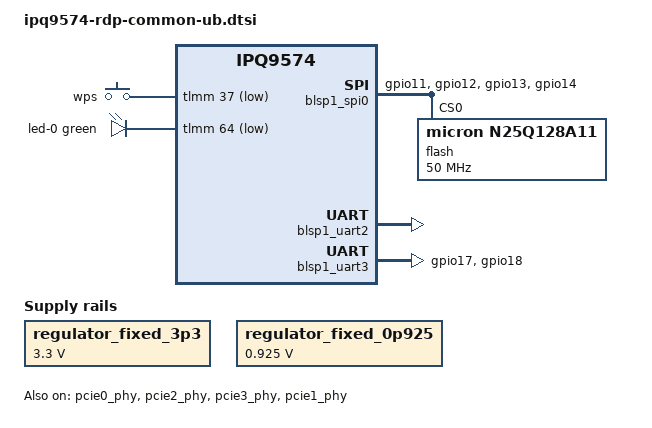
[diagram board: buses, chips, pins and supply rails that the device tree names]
// SPDX-License-Identifier: GPL-2.0-only
/*
 * Copyright (c) Qualcomm Technologies, Inc. and/or its subsidiaries.
 */


#include <dt-bindings/gpio/gpio.h>
#include <dt-bindings/input/input.h>
#include <dt-bindings/leds/common.h>
#include <dt-bindings/net/qcom_ipqsoc.h>
#include <asm/arch/dt-bindings/clock/qcom,ipq9574-gcc.h>
#include <asm/arch/dt-bindings/reset/qcom,ipq9574-gcc.h>
#include "ipq9574.dtsi"

/ {
	aliases {
		serial0 = &blsp1_uart2;
		uart2 = &blsp1_uart3;
	};

	chosen {
		stdout-path = "serial0:115200n8";
#ifdef CONFIG_BOOT_BANK_FIXUP
		u-boot,booted-bank = "unknown,bootbank";
#endif
	};

	soc@0 {
		/delete-node/ phy@7b000;
		/delete-node/ phy@7d000;
		/delete-node/ usb@8af8800;

		qmp_ssphy_0: ssphy@7D000 {
			compatible = "qcom,ipq9574-qmp-usb3-phy";
			reg = <0x7D000 0x1C4>, <0x7D200 0x130>,
			    <0x7D400 0x200>, <0x7D800 0x1F8>;
			reg-names = "com_base", "tx_base",
				"rx_base", "pcs_base";
			clocks = <&gcc GCC_USB0_PIPE_CLK>;
			#phy-cells = <0>;
			resets =  <&gcc GCC_USB0_PHY_BCR>,
			       <&gcc GCC_USB3PHY_0_PHY_BCR>;
			status = "disabled";
		};

		qusb2_phy_0: qusb2@7B000 {
			compatible = "qcom,ipq9574-qusb2-phy";
			reg = <0x07B000 0x180>;
			#phy-cells = <0>;
			clocks = <&gcc GCC_USB0_PHY_CFG_AHB_CLK>;
			clock-names = "cfg_ahb";
			resets = <&gcc GCC_QUSB2_0_PHY_BCR>;
			status = "disabled";
		};

		usb0: usb@8af8800 {
			compatible = "qcom,dwc3";
			reg = <0x8af8800 0x100>;
			#address-cells = <1>;
			#size-cells = <1>;
			assigned-clocks = <&gcc GCC_USB0_MASTER_CLK>,
				<&gcc GCC_USB0_MOCK_UTMI_CLK>,
				<&gcc GCC_USB0_AUX_CLK>;
			assigned-clock-rates = <200000000>,
				<24000000>,
				<24000000>;
			clocks = <&gcc GCC_USB0_MASTER_CLK>,
				<&gcc GCC_ANOC_USB_AXI_CLK>,
				<&gcc GCC_SNOC_USB_CLK>,
				<&gcc GCC_USB0_MOCK_UTMI_CLK>,
				<&gcc GCC_USB0_SLEEP_CLK>,
				<&gcc GCC_USB0_AUX_CLK>,
				<&gcc GCC_USB0_PHY_CFG_AHB_CLK>;
			resets = <&gcc GCC_USB_BCR>;
			ranges;
			qcom,quirk-ref-clk-per = <0x0a40c010>;
			qcom,quirk-ref-clk-adj = <0x0a87f0a0>;
			status = "disabled";

			dwc3@8a00000 {
				compatible = "snps,dwc3";
				reg = <0x8a00000 0xf8000>;
				dr_mode = "host";
				snps,dis_u2_susphy_quirk;
				snps,dis_u3_susphy_quirk;
			};
		};

		pcie0_phy: phy@84000 {
			compatible = "qcom,ipq9574-qmp-gen3x1-pcie-phy";
			reg = <0x00084000 0x1000>;

			clocks = <&gcc GCC_PCIE0_AUX_CLK>,
				 <&gcc GCC_PCIE0_AHB_CLK>,
				 <&gcc GCC_PCIE0_RCHNG_CLK>,
				 <&gcc GCC_PCIE0_PIPE_CLK>,
				 <&gcc GCC_ANOC_PCIE0_1LANE_M_CLK>,
                                 <&gcc GCC_SNOC_PCIE0_1LANE_S_CLK>;
			clock-names = "aux", "cfg_ahb", "rchng", "pipe",
					"lane_m", "lane_s";

			resets = <&gcc GCC_PCIE0_PHY_BCR>,
				 <&gcc GCC_PCIE0PHY_PHY_BCR>;
			reset-names = "phy", "common";

			#clock-cells = <0>;
			clock-output-names = "gcc_pcie0_pipe_clk_src";

			#phy-cells = <0>;
			status = "okay";
		};

		pcie2_phy: phy@8c000 {
			compatible = "qcom,ipq9574-qmp-gen3x2-pcie-phy";
			reg = <0x0008c000 0x2000>;

			clocks = <&gcc GCC_PCIE2_AUX_CLK>,
				 <&gcc GCC_PCIE2_AHB_CLK>,
				 <&gcc GCC_PCIE2_RCHNG_CLK>,
				 <&gcc GCC_PCIE2_PIPE_CLK>,
				 <&gcc GCC_ANOC_PCIE2_2LANE_M_CLK>,
                                 <&gcc GCC_SNOC_PCIE2_2LANE_S_CLK>;
			clock-names = "aux", "cfg_ahb", "rchng", "pipe",
					"lane_m", "lane_s";

			resets = <&gcc GCC_PCIE2_PHY_BCR>,
				 <&gcc GCC_PCIE2PHY_PHY_BCR>;
			reset-names = "phy", "common";

			#clock-cells = <0>;
			clock-output-names = "gcc_pcie2_pipe_clk_src";

			#phy-cells = <0>;
			status = "okay";
		};

		pcie3_phy: phy@f4000 {
			compatible = "qcom,ipq9574-qmp-gen3x2-pcie-phy";
			reg = <0x000f4000 0x2000>;

			clocks = <&gcc GCC_PCIE3_AUX_CLK>,
				 <&gcc GCC_PCIE3_AHB_CLK>,
				 <&gcc GCC_PCIE3_RCHNG_CLK>,
				 <&gcc GCC_PCIE3_PIPE_CLK>,
				 <&gcc GCC_ANOC_PCIE3_2LANE_M_CLK>,
                                 <&gcc GCC_SNOC_PCIE3_2LANE_S_CLK>;
			clock-names = "aux", "cfg_ahb", "rchng", "pipe",
					"lane_m", "lane_s";

			resets = <&gcc GCC_PCIE3_PHY_BCR>,
				 <&gcc GCC_PCIE3PHY_PHY_BCR>;
			reset-names = "phy", "common";

			#clock-cells = <0>;
			clock-output-names = "gcc_pcie3_pipe_clk_src";

			#phy-cells = <0>;
			status = "okay";
		};

		pcie1_phy: phy@fc000 {
			compatible = "qcom,ipq9574-qmp-gen3x1-pcie-phy";
			reg = <0x000fc000 0x1000>;

			clocks = <&gcc GCC_PCIE1_AUX_CLK>,
				 <&gcc GCC_PCIE1_AHB_CLK>,
				 <&gcc GCC_PCIE1_RCHNG_CLK>,
				 <&gcc GCC_PCIE1_PIPE_CLK>,
				 <&gcc GCC_ANOC_PCIE1_1LANE_M_CLK>,
				<&gcc GCC_SNOC_PCIE1_1LANE_S_CLK>;
			clock-names = "aux", "cfg_ahb", "rchng", "pipe",
					"lane_m", "lane_s";

			resets = <&gcc GCC_PCIE1_PHY_BCR>,
				 <&gcc GCC_PCIE1PHY_PHY_BCR>;
			reset-names = "phy", "common";

			#clock-cells = <0>;
			clock-output-names = "gcc_pcie1_pipe_clk_src";

			#phy-cells = <0>;
			status = "okay";
		};

		pcie1: pci@10000000 {
			compatible = "qcom,pcie-ipq9574";
			reg =  <0x10000000 0xf1d>,
			       <0x10000f20 0xa8>,
			       <0x10001000 0x1000>,
			       <0x000f8000 0x4000>,
			       <0x10100000 0x1000>;
			reg-names = "dbi", "elbi", "atu", "parf", "config";
			device_type = "pci";
			linux,pci-domain = <1>;
			bus-range = <0x00 0xff>;
			num-lanes = <1>;
			id = <1>;
			perst-gpios = <&tlmm 26 GPIO_ACTIVE_LOW>;
			#address-cells = <3>;
			#size-cells = <2>;

			ranges = <0x01000000 0x0 0x00000000 0x10200000 0x0 0x100000>,
				 <0x02000000 0x0 0x10300000 0x10300000 0x0 0x7d00000>;

			interrupts = <GIC_SPI 26 IRQ_TYPE_LEVEL_HIGH>,
				     <GIC_SPI 27 IRQ_TYPE_LEVEL_HIGH>,
				     <GIC_SPI 28 IRQ_TYPE_LEVEL_HIGH>,
				     <GIC_SPI 29 IRQ_TYPE_LEVEL_HIGH>,
				     <GIC_SPI 30 IRQ_TYPE_LEVEL_HIGH>,
				     <GIC_SPI 31 IRQ_TYPE_LEVEL_HIGH>,
				     <GIC_SPI 32 IRQ_TYPE_LEVEL_HIGH>,
				     <GIC_SPI 33 IRQ_TYPE_LEVEL_HIGH>;
			interrupt-names = "msi0",
					  "msi1",
					  "msi2",
					  "msi3",
					  "msi4",
					  "msi5",
					  "msi6",
					  "msi7";

			#interrupt-cells = <1>;
			interrupt-map-mask = <0 0 0 0x7>;
			interrupt-map = <0 0 0 1 &intc 0 0 35 IRQ_TYPE_LEVEL_HIGH>,
					<0 0 0 2 &intc 0 0 49 IRQ_TYPE_LEVEL_HIGH>,
					<0 0 0 3 &intc 0 0 84 IRQ_TYPE_LEVEL_HIGH>,
					<0 0 0 4 &intc 0 0 85 IRQ_TYPE_LEVEL_HIGH>;

			assigned-clocks = <&gcc GCC_PCIE1_AUX_CLK>,
					  <&gcc GCC_PCIE1_AXI_M_CLK>,
					  <&gcc GCC_PCIE1_AXI_S_CLK>,
					  <&gcc GCC_PCIE1_RCHNG_CLK>;
			assigned-clock-rates = <20000000>,
					       <240000000>,
					       <240000000>,
					       <100000000>;

			clocks = <&gcc GCC_PCIE1_AXI_M_CLK>,
				 <&gcc GCC_PCIE1_AXI_S_CLK>,
				 <&gcc GCC_PCIE1_AXI_S_BRIDGE_CLK>,
				 <&gcc GCC_PCIE1_AHB_CLK>,
				 <&gcc GCC_PCIE1_AUX_CLK>;
			clock-names = "axi_m",
				      "axi_s",
				      "axi_bridge",
				      "ahb",
				      "aux";

			resets = <&gcc GCC_PCIE1_PIPE_ARES>,
				 <&gcc GCC_PCIE1_CORE_STICKY_ARES>,
				 <&gcc GCC_PCIE1_AXI_S_STICKY_ARES>,
				 <&gcc GCC_PCIE1_AXI_S_ARES>,
				 <&gcc GCC_PCIE1_AXI_M_STICKY_ARES>,
				 <&gcc GCC_PCIE1_AXI_M_ARES>,
				 <&gcc GCC_PCIE1_AUX_ARES>,
				 <&gcc GCC_PCIE1_AHB_ARES>;
			reset-names = "pipe",
				      "sticky",
				      "axi_s_sticky",
				      "axi_s",
				      "axi_m_sticky",
				      "axi_m",
				      "aux",
				      "ahb";

			phys = <&pcie1_phy>;
			phy-names = "pciephy";
			interconnects = <&gcc MASTER_ANOC_PCIE1 &gcc SLAVE_ANOC_PCIE1>,
					<&gcc MASTER_SNOC_PCIE1 &gcc SLAVE_SNOC_PCIE1>;
			interconnect-names = "pcie-mem", "cpu-pcie";
			status = "disabled";
		};

		pcie3: pci@18000000 {
			compatible = "qcom,pcie-ipq9574";
			reg =  <0x18000000 0xf1d>,
			       <0x18000f20 0xa8>,
			       <0x18001000 0x1000>,
			       <0x000f0000 0x4000>,
			       <0x18100000 0x1000>;
			reg-names = "dbi", "elbi", "atu", "parf", "config";
			device_type = "pci";
			linux,pci-domain = <3>;
			bus-range = <0x00 0xff>;
			num-lanes = <2>;
			id = <3>;
			perst-gpios = <&tlmm 32 GPIO_ACTIVE_LOW>;
			#address-cells = <3>;
			#size-cells = <2>;

			ranges = <0x01000000 0x0 0x00000000 0x18200000 0x0 0x100000>,
				 <0x02000000 0x0 0x18300000 0x18300000 0x0 0x7d00000>;

			interrupts = <GIC_SPI 126 IRQ_TYPE_LEVEL_HIGH>,
				     <GIC_SPI 128 IRQ_TYPE_LEVEL_HIGH>,
				     <GIC_SPI 129 IRQ_TYPE_LEVEL_HIGH>,
				     <GIC_SPI 130 IRQ_TYPE_LEVEL_HIGH>,
				     <GIC_SPI 137 IRQ_TYPE_LEVEL_HIGH>,
				     <GIC_SPI 141 IRQ_TYPE_LEVEL_HIGH>,
				     <GIC_SPI 142 IRQ_TYPE_LEVEL_HIGH>,
				     <GIC_SPI 143 IRQ_TYPE_LEVEL_HIGH>;
			interrupt-names = "msi0",
					  "msi1",
					  "msi2",
					  "msi3",
					  "msi4",
					  "msi5",
					  "msi6",
					  "msi7";

			#interrupt-cells = <1>;
			interrupt-map-mask = <0 0 0 0x7>;
			interrupt-map = <0 0 0 1 &intc 0 0 189 IRQ_TYPE_LEVEL_HIGH>,
					<0 0 0 2 &intc 0 0 190 IRQ_TYPE_LEVEL_HIGH>,
					<0 0 0 3 &intc 0 0 191 IRQ_TYPE_LEVEL_HIGH>,
					<0 0 0 4 &intc 0 0 192 IRQ_TYPE_LEVEL_HIGH>;

			assigned-clocks = <&gcc GCC_PCIE3_AUX_CLK>,
					  <&gcc GCC_PCIE3_AXI_M_CLK>,
					  <&gcc GCC_PCIE3_AXI_S_CLK>,
					  <&gcc GCC_PCIE3_RCHNG_CLK>;
			assigned-clock-rates = <20000000>,
					       <342857143>,
					       <240000000>,
					       <100000000>;

			clocks = <&gcc GCC_PCIE3_AXI_M_CLK>,
				 <&gcc GCC_PCIE3_AXI_S_CLK>,
				 <&gcc GCC_PCIE3_AXI_S_BRIDGE_CLK>,
				 <&gcc GCC_PCIE3_AHB_CLK>,
				 <&gcc GCC_PCIE3_AUX_CLK>;
			clock-names = "axi_m",
				      "axi_s",
				      "axi_bridge",
				      "ahb",
				      "aux";

			resets = <&gcc GCC_PCIE3_PIPE_ARES>,
				 <&gcc GCC_PCIE3_CORE_STICKY_ARES>,
				 <&gcc GCC_PCIE3_AXI_S_STICKY_ARES>,
				 <&gcc GCC_PCIE3_AXI_S_ARES>,
				 <&gcc GCC_PCIE3_AXI_M_STICKY_ARES>,
				 <&gcc GCC_PCIE3_AXI_M_ARES>,
				 <&gcc GCC_PCIE3_AUX_ARES>,
				 <&gcc GCC_PCIE3_AHB_ARES>;
			reset-names = "pipe",
				      "sticky",
				      "axi_s_sticky",
				      "axi_s",
				      "axi_m_sticky",
				      "axi_m",
				      "aux",
				      "ahb";

			phys = <&pcie3_phy>;
			phy-names = "pciephy";
			interconnects = <&gcc MASTER_ANOC_PCIE3 &gcc SLAVE_ANOC_PCIE3>,
					<&gcc MASTER_SNOC_PCIE3 &gcc SLAVE_SNOC_PCIE3>;
			interconnect-names = "pcie-mem", "cpu-pcie";
			status = "disabled";
		};

		pcie2: pci@20000000 {
			compatible = "qcom,pcie-ipq9574";
			reg =  <0x20000000 0xf1d>,
			       <0x20000f20 0xa8>,
			       <0x20001000 0x1000>,
			       <0x00088000 0x4000>,
			       <0x20100000 0x1000>;
			reg-names = "dbi", "elbi", "atu", "parf", "config";
			device_type = "pci";
			linux,pci-domain = <2>;
			bus-range = <0x00 0xff>;
			num-lanes = <2>;
			id = <2>;
			perst-gpios = <&tlmm 29 GPIO_ACTIVE_LOW>;
			#address-cells = <3>;
			#size-cells = <2>;

			ranges = <0x01000000 0x0 0x00000000 0x20200000 0x0 0x100000>,
				 <0x02000000 0x0 0x20300000 0x20300000 0x0 0x7d00000>;

			interrupts = <GIC_SPI 126 IRQ_TYPE_LEVEL_HIGH>,
				     <GIC_SPI 128 IRQ_TYPE_LEVEL_HIGH>,
				     <GIC_SPI 129 IRQ_TYPE_LEVEL_HIGH>,
				     <GIC_SPI 130 IRQ_TYPE_LEVEL_HIGH>,
				     <GIC_SPI 137 IRQ_TYPE_LEVEL_HIGH>,
				     <GIC_SPI 141 IRQ_TYPE_LEVEL_HIGH>,
				     <GIC_SPI 142 IRQ_TYPE_LEVEL_HIGH>,
				     <GIC_SPI 143 IRQ_TYPE_LEVEL_HIGH>;
			interrupt-names = "msi0",
					  "msi1",
					  "msi2",
					  "msi3",
					  "msi4",
					  "msi5",
					  "msi6",
					  "msi7";

			#interrupt-cells = <1>;
			interrupt-map-mask = <0 0 0 0x7>;
			interrupt-map = <0 0 0 1 &intc 0 0 164 IRQ_TYPE_LEVEL_HIGH>,
					<0 0 0 2 &intc 0 0 165 IRQ_TYPE_LEVEL_HIGH>,
					<0 0 0 3 &intc 0 0 186 IRQ_TYPE_LEVEL_HIGH>,
					<0 0 0 4 &intc 0 0 187 IRQ_TYPE_LEVEL_HIGH>;

			assigned-clocks = <&gcc GCC_PCIE2_AUX_CLK>,
					  <&gcc GCC_PCIE2_AXI_M_CLK>,
					  <&gcc GCC_PCIE2_AXI_S_CLK>,
					  <&gcc GCC_PCIE2_RCHNG_CLK>;

			assigned-clock-rates = <20000000>,
					       <342857143>,
					       <240000000>,
					       <100000000>;

			clocks = <&gcc GCC_PCIE2_AXI_M_CLK>,
				 <&gcc GCC_PCIE2_AXI_S_CLK>,
				 <&gcc GCC_PCIE2_AXI_S_BRIDGE_CLK>,
				 <&gcc GCC_PCIE2_AHB_CLK>,
				 <&gcc GCC_PCIE2_AUX_CLK>;
			clock-names = "axi_m",
				      "axi_s",
				      "axi_bridge",
				      "ahb",
				      "aux";

			resets = <&gcc GCC_PCIE2_PIPE_ARES>,
				 <&gcc GCC_PCIE2_CORE_STICKY_ARES>,
				 <&gcc GCC_PCIE2_AXI_S_STICKY_ARES>,
				 <&gcc GCC_PCIE2_AXI_S_ARES>,
				 <&gcc GCC_PCIE2_AXI_M_STICKY_ARES>,
				 <&gcc GCC_PCIE2_AXI_M_ARES>,
				 <&gcc GCC_PCIE2_AUX_ARES>,
				 <&gcc GCC_PCIE2_AHB_ARES>;
			reset-names = "pipe",
				      "sticky",
				      "axi_s_sticky",
				      "axi_s",
				      "axi_m_sticky",
				      "axi_m",
				      "aux",
				      "ahb";

			phys = <&pcie2_phy>;
			phy-names = "pciephy";
			interconnects = <&gcc MASTER_ANOC_PCIE2 &gcc SLAVE_ANOC_PCIE2>,
					<&gcc MASTER_SNOC_PCIE2 &gcc SLAVE_SNOC_PCIE2>;
			interconnect-names = "pcie-mem", "cpu-pcie";
			status = "disabled";
		};

		pcie0: pci@28000000 {
			compatible = "qcom,pcie-ipq9574";
			reg =  <0x28000000 0xf1d>,
			       <0x28000f20 0xa8>,
			       <0x28001000 0x1000>,
			       <0x00080000 0x4000>,
			       <0x28100000 0x1000>;
			reg-names = "dbi", "elbi", "atu", "parf", "config";
			device_type = "pci";
			linux,pci-domain = <0>;
			bus-range = <0x00 0xff>;
			num-lanes = <1>;
			id = <0>;
			perst-gpios = <&tlmm 23 GPIO_ACTIVE_LOW>;
			#address-cells = <3>;
			#size-cells = <2>;

			ranges = <0x01000000 0x0 0x00000000 0x28200000 0x0 0x100000>,
				 <0x02000000 0x0 0x28300000 0x28300000 0x0 0x7d00000>;
			interrupts = <GIC_SPI 52 IRQ_TYPE_LEVEL_HIGH>,
				     <GIC_SPI 55 IRQ_TYPE_LEVEL_HIGH>,
				     <GIC_SPI 56 IRQ_TYPE_LEVEL_HIGH>,
				     <GIC_SPI 57 IRQ_TYPE_LEVEL_HIGH>,
				     <GIC_SPI 59 IRQ_TYPE_LEVEL_HIGH>,
				     <GIC_SPI 63 IRQ_TYPE_LEVEL_HIGH>,
				     <GIC_SPI 68 IRQ_TYPE_LEVEL_HIGH>,
				     <GIC_SPI 72 IRQ_TYPE_LEVEL_HIGH>;
			interrupt-names = "msi0",
					  "msi1",
					  "msi2",
					  "msi3",
					  "msi4",
					  "msi5",
					  "msi6",
					  "msi7";

			#interrupt-cells = <1>;
			interrupt-map-mask = <0 0 0 0x7>;
			interrupt-map = <0 0 0 1 &intc 0 0 75 IRQ_TYPE_LEVEL_HIGH>,
					<0 0 0 2 &intc 0 0 78 IRQ_TYPE_LEVEL_HIGH>,
					<0 0 0 3 &intc 0 0 79 IRQ_TYPE_LEVEL_HIGH>,
					<0 0 0 4 &intc 0 0 83 IRQ_TYPE_LEVEL_HIGH>;

			assigned-clocks = <&gcc GCC_PCIE0_AUX_CLK>,
					  <&gcc GCC_PCIE0_AXI_M_CLK>,
					  <&gcc GCC_PCIE0_AXI_S_CLK>,
					  <&gcc GCC_PCIE0_RCHNG_CLK>;
			assigned-clock-rates = <20000000>,
					       <240000000>,
					       <240000000>,
					       <100000000>;

			clocks = <&gcc GCC_PCIE0_AXI_M_CLK>,
				 <&gcc GCC_PCIE0_AXI_S_CLK>,
				 <&gcc GCC_PCIE0_AXI_S_BRIDGE_CLK>,
				 <&gcc GCC_PCIE0_AHB_CLK>,
				 <&gcc GCC_PCIE0_AUX_CLK>;
			clock-names = "axi_m",
				      "axi_s",
				      "axi_bridge",
				      "ahb",
				      "aux";

			resets = <&gcc GCC_PCIE0_PIPE_ARES>,
				 <&gcc GCC_PCIE0_CORE_STICKY_ARES>,
				 <&gcc GCC_PCIE0_AXI_S_STICKY_ARES>,
				 <&gcc GCC_PCIE0_AXI_S_ARES>,
				 <&gcc GCC_PCIE0_AXI_M_STICKY_ARES>,
				 <&gcc GCC_PCIE0_AXI_M_ARES>,
				 <&gcc GCC_PCIE0_AUX_ARES>,
				 <&gcc GCC_PCIE0_AHB_ARES>;
			reset-names = "pipe",
				      "sticky",
				      "axi_s_sticky",
				      "axi_s",
				      "axi_m_sticky",
				      "axi_m",
				      "aux",
				      "ahb";

			phys = <&pcie0_phy>;
			phy-names = "pciephy";
			interconnects = <&gcc MASTER_ANOC_PCIE0 &gcc SLAVE_ANOC_PCIE0>,
					<&gcc MASTER_SNOC_PCIE0 &gcc SLAVE_SNOC_PCIE0>;
			interconnect-names = "pcie-mem", "cpu-pcie";
			status = "disabled";
		};
	};

	regulator_fixed_3p3: s3300 {
		compatible = "regulator-fixed";
		regulator-min-microvolt = <3300000>;
		regulator-max-microvolt = <3300000>;
		regulator-boot-on;
		regulator-always-on;
		regulator-name = "fixed_3p3";
	};

	regulator_fixed_0p925: s0925 {
		compatible = "regulator-fixed";
		regulator-min-microvolt = <925000>;
		regulator-max-microvolt = <925000>;
		regulator-boot-on;
		regulator-always-on;
		regulator-name = "fixed_0p925";
	};

	gpio-keys {
		compatible = "gpio-keys";
		pinctrl-0 = <&gpio_keys_default>;
		pinctrl-names = "default";

		button-wps {
			label = "wps";
			linux,code = <KEY_WPS_BUTTON>;
			gpios = <&tlmm 37 GPIO_ACTIVE_LOW>;
			debounce-interval = <60>;
		};
	};

	leds {
		compatible = "gpio-leds";
		pinctrl-0 = <&gpio_leds_default>;
		pinctrl-names = "default";

		led-0 {
			color = <LED_COLOR_ID_GREEN>;
			function = LED_FUNCTION_WLAN;
			gpios = <&tlmm 64 GPIO_ACTIVE_LOW>;
			linux,default-trigger = "phy0tx";
			default-state = "off";
		};
	};
};

&blsp1_spi0 {
	pinctrl-0 = <&spi_0_pins>;
	pinctrl-names = "default";
	status = "okay";

	flash@0 {
		compatible = "micron,n25q128a11", "jedec,spi-nor";
		reg = <0>;
		#address-cells = <1>;
		#size-cells = <1>;
		spi-max-frequency = <50000000>;
	};
};

&blsp1_uart2 {
	clock-frequency=<1843200>;
	pinctrl-0 = <&uart2_pins>;
	pinctrl-names = "default";
	status = "okay";
};

&blsp1_uart3 {
	clock-frequency=<1843200>;
	pinctrl-0 = <&uart3_pins>;
	pinctrl-names = "default";
	status = "okay";
};

&rpm_requests {
	regulators {
		compatible = "qcom,rpm-mp5496-regulators";

		ipq9574_s1: s1 {
		/*
		 * During kernel bootup, the SoC runs at 800MHz with 875mV set by the bootloaders.
		 * During regulator registration, kernel not knowing the initial voltage,
		 * considers it as zero and brings up the regulators with minimum supported voltage.
		 * Update the regulator-min-microvolt with SVS voltage of 725mV so that
		 * the regulators are brought up with 725mV which is sufficient for all the
		 * corner parts to operate at 800MHz
		 */
			regulator-min-microvolt = <725000>;
			regulator-max-microvolt = <1075000>;
		};

		mp5496_l2: l2 {
			regulator-min-microvolt = <1800000>;
			regulator-max-microvolt = <1800000>;
			regulator-always-on;
			regulator-boot-on;
		};
	};
};

&sleep_clk {
	clock-frequency = <32000>;
};

&tlmm {
	uart3_pins: uart3-state {
		pins = "gpio17", "gpio18";
		function = "blsp3_uart";
		drive-strength = <8>;
		bias-disable;
	};

	spi_0_pins: spi-0-state {
		pins = "gpio11", "gpio12", "gpio13", "gpio14";
		function = "blsp0_spi";
		drive-strength = <8>;
		bias-disable;
	};

	gpio_keys_default: gpio-keys-default-state {
		pins = "gpio37";
		function = "gpio";
		drive-strength = <8>;
		bias-pull-up;
	};

	gpio_leds_default: gpio-leds-default-state {
		pins = "gpio64";
		function = "gpio";
		drive-strength = <8>;
		bias-pull-up;
	};
};

&xo_board_clk {
	clock-frequency = <24000000>;
};
